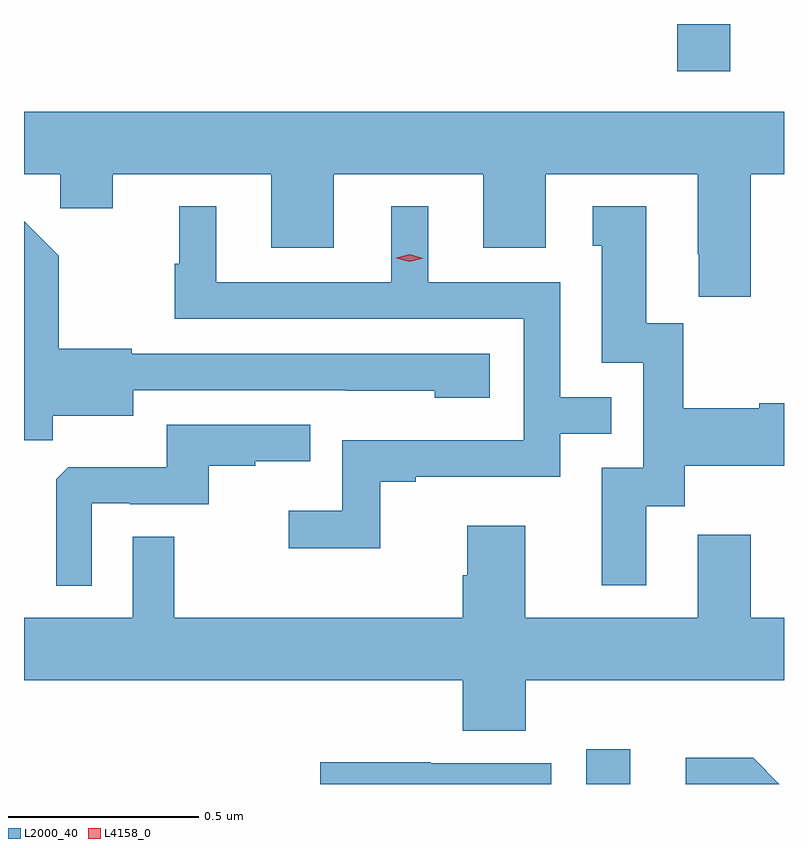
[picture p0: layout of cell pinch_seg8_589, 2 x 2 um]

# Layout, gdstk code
import gdstk
lib = gdstk.Library(unit=1e-6, precision=1e-09)
def R(c, l, rs):  # rectangles x0, y0, x1, y1
    for r in rs: c.add(gdstk.rectangle(r[:2], r[2:], *l))
def P(c, l, *ps):  # polygons
    for p in ps: c.add(gdstk.Polygon(p, *l))
L2000_40 = (2000, 40)
L4158_0 = (4158, 0)

pinch_seg8_589 = lib.new_cell('pinch_seg8_589')
R(pinch_seg8_589, L2000_40, [(158.712,1096.247,158.827,1096.339), (158.951,1098.123,159.091,1098.247)])
P(pinch_seg8_589, L2000_40, [(159.145,1097.852),(159.232,1097.852),(159.232,1098.016),(157.232,1098.016),(157.232,1097.852),(157.327,1097.852),(157.327,1097.762),(157.465,1097.762),(157.465,1097.852),(157.883,1097.852),(157.883,1097.658),(158.047,1097.658),(158.047,1097.852),(158.441,1097.852),(158.441,1097.658),(158.605,1097.658),(158.605,1097.852),(159.005,1097.852),(159.005,1097.641),(159.008,1097.641),(159.008,1097.529),(159.145,1097.529)],
  [(158.869,1096.978),(158.971,1096.978),(158.971,1097.084),(159.232,1097.084),(159.232,1097.249),(159.167,1097.249),(159.167,1097.236),(158.967,1097.236),(158.967,1097.459),(158.869,1097.459),(158.869,1097.767),(158.729,1097.767),(158.729,1097.664),(158.753,1097.664),(158.753,1097.355),(158.862,1097.355),(158.862,1097.079),(158.753,1097.079),(158.753,1096.77),(158.869,1096.77)],
  [(158.169,1097.043),(158.263,1097.043),(158.263,1097.055),(158.643,1097.055),(158.643,1097.169),(158.777,1097.169),(158.777,1097.265),(158.643,1097.265),(158.643,1097.568),(158.296,1097.568),(158.296,1097.767),(158.198,1097.767),(158.198,1097.568),(157.738,1097.568),(157.738,1097.767),(157.64,1097.767),(157.64,1097.616),(157.629,1097.616),(157.629,1097.472),(158.547,1097.472),(158.547,1097.151),(158.07,1097.151),(158.07,1096.966),(157.929,1096.966),(157.929,1096.868),(158.169,1096.868)],
  [(157.308,1097.216),(157.519,1097.216),(157.519,1097.283),(158.077,1097.283),(158.077,1097.282),(158.313,1097.282),(158.313,1097.264),(158.458,1097.264),(158.458,1097.379),(157.515,1097.379),(157.515,1097.392),(157.323,1097.392),(157.323,1097.637),(157.232,1097.728),(157.232,1097.152),(157.308,1097.152)],
  [(157.41,1096.986),(157.51,1096.986),(157.51,1096.983),(157.718,1096.983),(157.718,1097.085),(157.841,1097.085),(157.841,1097.096),(157.985,1097.096),(157.985,1097.193),(157.608,1097.193),(157.608,1097.081),(157.349,1097.081),(157.317,1097.049),(157.317,1096.769),(157.41,1096.769)],
  [(158.552,1096.52),(159.232,1096.52),(159.232,1096.684),(159.145,1096.684),(159.145,1096.903),(159.005,1096.903),(159.005,1096.684),(158.551,1096.684),(158.551,1096.927),(158.399,1096.927),(158.399,1096.797),(158.387,1096.797),(158.387,1096.684),(157.627,1096.684),(157.627,1096.898),(157.518,1096.898),(157.518,1096.684),(157.232,1096.684),(157.232,1096.52),(158.387,1096.52),(158.387,1096.387),(158.552,1096.387)],
  [(159.151,1096.316),(158.973,1096.316),(158.973,1096.247),(159.22,1096.247)],
  [(158.619,1096.302),(158.303,1096.302),(158.303,1096.304),(158.011,1096.304),(158.011,1096.247),(158.619,1096.247)])
P(pinch_seg8_589, L4158_0, [(158.247,1097.621),(158.211,1097.631),(158.211,1097.632),(158.211,1097.632),(158.247,1097.641),(158.282,1097.63),(158.283,1097.63),(158.282,1097.63)])

lib.write_gds('pinch_seg8_589.gds')
